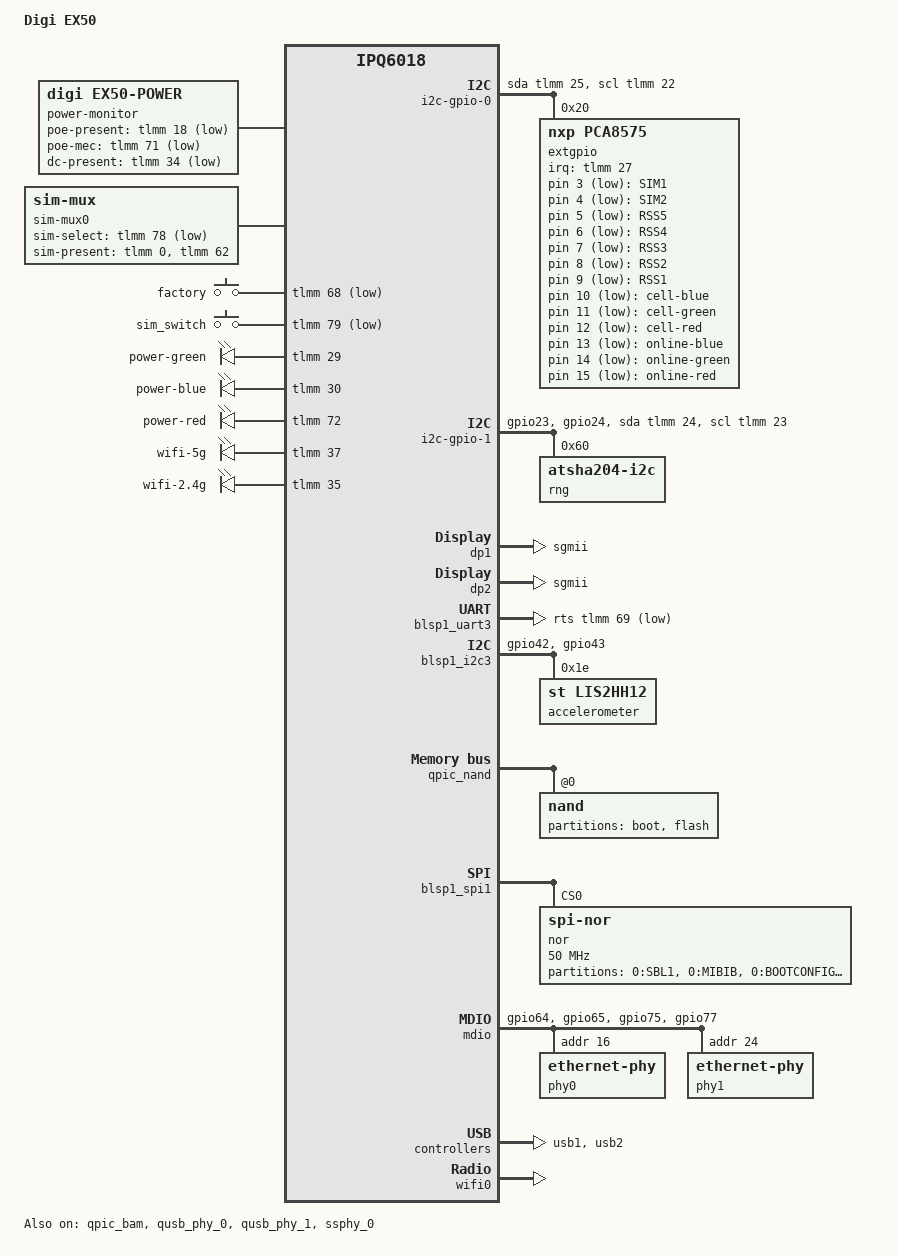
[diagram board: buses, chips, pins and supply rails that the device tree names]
// SPDX-License-Identifier: (GPL-2.0+ OR BSD-3-Clause)
/*
 * Digi/EX50 board device tree
 *
 * Copyright (c) 2019, The Linux Foundation. All rights reserved.
 * Copyright (c) 2021, Digi Inc. All rights reserved.
 */

/dts-v1/;

#include "ipq6018.dtsi"
#include <dt-bindings/gpio/gpio.h>
#include <dt-bindings/input/input.h>

/ {
	model = "Digi EX50";
	compatible = "digi,ex50", "qcom,ipq6018";

	reserved-memory {
		/*
		 * 64KiB reserved for pstore (ramoops). U-Boot reserves 4k at
		 * the very end of the 512MB memory. Otherwise everything else
		 * U-Boot is using is before 256MB.
		 * Kernel is using the end of the memory. But a bunch of memory
		 * is reserved for the CPU around 0x50000000, like
		 * "smem_region", "q6_etr_region", etc. The last one is the
		 * "q6_etr_region", which is finished at 0x500fffff. Reserve
		 * region for ramoops just after that
		 */
		ramoops@50100000 {
			compatible = "ramoops";
			reg = <0x0 0x50100000 0x0 0x10000>;
			ecc-size = <16>;
			record-size = <0x1000>;
			console-size = <0x1000>;
		};
	};

	aliases {
		serial0 = &blsp1_uart3;
	};

	chosen {
		bootargs-append = " swiotlb=1";
	};

	i2c-gpio-0 {
		compatible = "i2c-gpio";
		sda-gpios = <&tlmm 25 (GPIO_ACTIVE_HIGH | GPIO_OPEN_DRAIN)>;
		scl-gpios = <&tlmm 22 (GPIO_ACTIVE_HIGH | GPIO_OPEN_DRAIN)>;
		status = "okay";

		#address-cells = <1>;
		#size-cells = <0>;

		extgpio: pca8575@20 {
			compatible = "nxp,pca8575";
			reg = <0x20>;
			gpio-controller;
			#gpio-cells = <2>;
			interrupt-parent = <&tlmm>;
			interrupts = <27 IRQ_TYPE_EDGE_FALLING>;
			pinctrl-names = "default";
			pinctrl-0 = <&i2c_gpio_led_pins>;
		};
	};

	i2c-gpio-1 {
		compatible = "i2c-gpio";
		sda-gpios = <&tlmm 24 (GPIO_ACTIVE_HIGH | GPIO_OPEN_DRAIN)>;
		scl-gpios = <&tlmm 23 (GPIO_ACTIVE_HIGH | GPIO_OPEN_DRAIN)>;
		pinctrl-names = "default";
		pinctrl-0 = <&i2c_gpio_atmel_pins>;
		status = "okay";

		#address-cells = <1>;
		#size-cells = <0>;

		rng: atecc508@60 {
			compatible = "atsha204-i2c";
			reg = <0x60>;
		};
	};

	nss-macsec0 {
		compatible = "qcom,nss-macsec";
		phy_addr = <16>;
		phy_access_mode = <0>;
		mdiobus = <&mdio>;
	};

	nss-macsec1 {
		compatible = "qcom,nss-macsec";
		phy_addr = <24>;
		phy_access_mode = <0>;
		mdiobus = <&mdio>;
	};

	ess-switch@3a000000 {
		switch_cpu_bmp = <0x1>;  /* cpu port bitmap */
		switch_lan_bmp = <0x10>; /* lan port bitmap */
		switch_wan_bmp = <0x20>; /* wan port bitmap */
		switch_inner_bmp = <0xc0>; /*inner port bitmap*/
		switch_mac_mode = <0xf>; /* mac mode for uniphy instance0*/
		switch_mac_mode1 = <0xf>; /* mac mode for uniphy instance1*/
		switch_mac_mode2 = <0xff>; /* mac mode for uniphy instance2*/

		qcom,port_phyinfo {
			port@4 {
				port_id = <4>;
				phy_address = <16>;
				port_mac_sel = "QGMAC_PORT";
			};
			port@5 {
				port_id = <5>;
				phy_address = <24>;
				port_mac_sel = "QGMAC_PORT";
			};
		};
	};

	dp1 {
		device_type = "network";
		compatible = "qcom,nss-dp";
		qcom,id = <4>;
		reg = <0x0 0x3a001600 0x0 0x200>;
		qcom,mactype = <0>;
		local-mac-address = [000000000000];
		qcom,link-poll = <1>;
		qcom,phy-mdio-addr = <16>;
		phy-mode = "sgmii";
	};

	dp2 {
		device_type = "network";
		compatible = "qcom,nss-dp";
		qcom,id = <5>;
		reg = <0x0 0x3a001800 0x0 0x200>;
		qcom,mactype = <0>;
		local-mac-address = [000000000000];
		qcom,link-poll = <1>;
		qcom,phy-mdio-addr = <24>;
		phy-mode = "sgmii";
	};

	power-monitor {
		compatible = "digi,ex50-power";

		poe-present-gpios = <&tlmm 18 GPIO_ACTIVE_LOW>;
		poe-mec-gpios     = <&tlmm 71 GPIO_ACTIVE_LOW>;
		dc-present-gpios  = <&tlmm 34 GPIO_ACTIVE_LOW>;
	};

	sim-mux0 {
		compatible = "sim-mux";

		sim-select-gpios  = <&tlmm 78 GPIO_ACTIVE_LOW>;
		sim-present-gpios = <&tlmm  0 GPIO_ACTIVE_HIGH>,
				    <&tlmm 62 GPIO_ACTIVE_HIGH>;

		sim-count = <2>;
	};
};

&soc {
	gpio-keys {
		compatible = "gpio-keys";

		factory-button {
			label = "factory";
			linux,code = <KEY_DELETE>;
			gpios = <&tlmm 68 GPIO_ACTIVE_LOW>;
		};

		sim-button {
			label = "sim_switch";
			linux,code = <KEY_SELECT>;
			gpios = <&tlmm 79 GPIO_ACTIVE_LOW>;
		};
	};
};

&soc {
	leds {
		compatible = "gpio-leds";
		pinctrl-0 = <&leds_pins>;
		pinctrl-names = "default";

		led@29 {
			label = "power-green";
			gpios = <&tlmm 29 GPIO_ACTIVE_HIGH>;
			linux,default-trigger = "none";
			default-state = "keep";
		};

		led@30 {
			label = "power-blue";
			gpios = <&tlmm 30 GPIO_ACTIVE_HIGH>;
			linux,default-trigger = "none";
			default-state = "keep";
		};

		led@72 {
			label = "power-red";
			gpios = <&tlmm 72 GPIO_ACTIVE_HIGH>;
			linux,default-trigger = "none";
			default-state = "keep";
		};

		led@37 {
			label = "wifi-5g";
			gpios = <&tlmm 37 GPIO_ACTIVE_HIGH>;
			linux,default-trigger = "none";
			default-state = "off";
		};

		led@35 {
			label = "wifi-2.4g";
			gpios = <&tlmm 35 GPIO_ACTIVE_HIGH>;
			linux,default-trigger = "none";
			default-state = "off";
		};

		extgpio@3 {
			label = "SIM1";
			gpios = <&extgpio 3 GPIO_ACTIVE_LOW>;
			linux,default-trigger = "none";
			default-state = "off";
		};

		extgpio@4 {
			label = "SIM2";
			gpios = <&extgpio 4 GPIO_ACTIVE_LOW>;
			linux,default-trigger = "none";
			default-state = "off";
		};

		extgpio@5 {
			label = "RSS5";
			gpios = <&extgpio 5 GPIO_ACTIVE_LOW>;
			linux,default-trigger = "none";
			default-state = "off";
		};

		extgpio@6 {
			label = "RSS4";
			gpios = <&extgpio 6 GPIO_ACTIVE_LOW>;
			linux,default-trigger = "none";
			default-state = "off";
		};

		extgpio@7 {
			label = "RSS3";
			gpios = <&extgpio 7 GPIO_ACTIVE_LOW>;
			linux,default-trigger = "none";
			default-state = "off";
		};

		extgpio@8 {
			label = "RSS2";
			gpios = <&extgpio 8 GPIO_ACTIVE_LOW>;
			linux,default-trigger = "none";
			default-state = "off";
		};

		extgpio@9 {
			label = "RSS1";
			gpios = <&extgpio 9 GPIO_ACTIVE_LOW>;
			linux,default-trigger = "none";
			default-state = "off";
		};

		extgpio@10 {
			label = "cell-blue";
			gpios = <&extgpio 10 GPIO_ACTIVE_LOW>;
			linux,default-trigger = "none";
			default-state = "off";
		};

		extgpio@11 {
			label = "cell-green";
			gpios = <&extgpio 11 GPIO_ACTIVE_LOW>;
			linux,default-trigger = "none";
			default-state = "off";
		};

		extgpio@12 {
			label = "cell-red";
			gpios = <&extgpio 12 GPIO_ACTIVE_LOW>;
			linux,default-trigger = "none";
			default-state = "off";
		};

		extgpio@13 {
			label = "online-blue";
			gpios = <&extgpio 13 GPIO_ACTIVE_LOW>;
			linux,default-trigger = "none";
			default-state = "off";
		};

		extgpio@14 {
			label = "online-green";
			gpios = <&extgpio 14 GPIO_ACTIVE_LOW>;
			linux,default-trigger = "none";
			default-state = "off";
		};

		extgpio@15 {
			label = "online-red";
			gpios = <&extgpio 15 GPIO_ACTIVE_LOW>;
			linux,default-trigger = "none";
			default-state = "off";
		};
	};
};

&blsp1_uart3 {
	pinctrl-0 = <&serial_3_pins>;
	pinctrl-names = "default", "serial-gpio-pins";
	dtr-gpios = <&tlmm 57 GPIO_ACTIVE_LOW>;
	dcd-gpios = <&tlmm 16 GPIO_ACTIVE_LOW>;
	rts-gpios = <&tlmm 69 GPIO_ACTIVE_LOW>;
	cts-gpios = <&tlmm 70 GPIO_ACTIVE_LOW>;
	status = "okay";
};

&blsp1_i2c3 {
	pinctrl-0 = <&i2c_1_pins>;
	pinctrl-names = "default";
	status = "okay";

	accelerometer@1e {
		compatible = "st,lis2hh12";
		reg = <0x1e>;
	};
};

&qpic_bam {
	status = "okay";
};

&qpic_nand {
	status = "okay";

	nand@0 {
		reg = <0>;

		partitions {
			compatible = "fixed-partitions";
			#address-cells = <1>;
			#size-cells = <1>;

			partition@0 {
				label = "boot";
				reg = <0x00000000 0x02000000>;
			};
			partition@1 {
				label = "flash";
				reg = <0x02000000 0>;
			};
		};
	};
};

&blsp1_spi1 {
	cs-select = <0>;
	status = "okay";

	nor@0 {
		#address-cells = <1>;
		#size-cells = <1>;
		reg = <0>;
		compatible = "jedec,spi-nor";
		spi-max-frequency = <50000000>;

		partition@0 {
			label = "0:SBL1";
			reg = <0x00 0xc0000>;
		};

		partition@c0000 {
			label = "0:MIBIB";
			reg = <0xc0000 0x10000>;
		};

		partition@d0000 {
			label = "0:BOOTCONFIG";
			reg = <0xd0000 0x20000>;
		};

		partition@f0000 {
			label = "0:BOOTCONFIG1";
			reg = <0xf0000 0x20000>;
		};

		partition@110000 {
			label = "0:QSEE";
			reg = <0x110000 0x1a0000>;
		};

		partition@2b0000 {
			label = "0:QSEE_1";
			reg = <0x2b0000 0x1a0000>;
		};

		partition@450000 {
			label = "0:DEVCFG";
			reg = <0x450000 0x10000>;
		};

		partition@460000 {
			label = "0:DEVCFG_1";
			reg = <0x460000 0x10000>;
		};

		partition@470000 {
			label = "0:RPM";
			reg = <0x470000 0x40000>;
		};

		partition@4b0000 {
			label = "0:RPM_1";
			reg = <0x4b0000 0x40000>;
		};

		partition@4f0000 {
			label = "0:CDT";
			reg = <0x4f0000 0x10000>;
		};

		partition@500000 {
			label = "0:CDT_1";
			reg = <0x500000 0x10000>;
		};

		partition@510000 {
			label = "0:APPSBLENV";
			reg = <0x510000 0x10000>;
		};

		partition@520000 {
			label = "0:APPSBL";
			reg = <0x520000 0xa0000>;
		};

		partition@5c0000 {
			label = "0:APPSBL_1";
			reg = <0x5c0000 0xa0000>;
		};

		partition@660000 {
			label = "0:ART";
			reg = <0x660000 0x40000>;
			read-only;
		};
	};
};

&mdio {
	pinctrl-0 = <&mdio_pins>;
	pinctrl-names = "default";
	phy-reset-gpio = <&tlmm 75 0 &tlmm 77 1>;
	#address-cells = <1>;
	#size-cells = <0>;
	status = "okay";

	phy0: ethernet-phy@0 {
		reg = <16>;
	};
	phy1: ethernet-phy@1 {
		reg = <24>;
	};
};

&qusb_phy_0 {
	status = "okay";
};

&qusb_phy_1 {
	status = "okay";
};

&ssphy_0 {
	status = "okay";
};

&usb1 {
	status = "okay";
};

&usb2 {
	status = "okay";
};

&pcie0 {
	status = "disabled";
};

&pcie_phy {
	status = "disabled";
};

&tlmm {
	gpio-line-names = "", "", "", "", "", "", "", "",
	/*  8 */	  "", "", "", "", "", "", "", "",
	/* 16 */	  "dcd", "", "poe_in", "", "", "", "", "",
	/* 24 */	  "", "", "", "", "", "", "", "wdi",
	/* 32 */	  "", "", "dc_in", "", "", "", "", "",
	/* 40 */	  "", "", "", "", "", "", "", "",
	/* 48 */	  "", "", "", "", "", "", "", "",
	/* 56 */	  "", "dtr", "", "", "", "", "", "developer_",
	/* 64 */	  "", "", "", "", "factory", "rts", "cts", "full_power",
	/* 72 */	  "", "", "wdi_enable", "", "", "", "sim_select", "sim_switch";

	i2c_1_pins: i2c-1-pins {
		pins = "gpio42", "gpio43";
		function = "blsp2_i2c";
		drive-strength = <8>;
	};

	spi_0_pins: spi-0-pins {
		pins = "gpio38", "gpio39", "gpio40", "gpio41";
		function = "blsp0_spi";
		drive-strength = <8>;
		bias-pull-down;
	};

	leds_pins: leds-pins {
		pins = "gpio29", "gpio30", "gpio35", "gpio37", "gpio72";
		functions = "gpio";
		drive-strength = <8>;
		bias-pull-down;
	};

	i2c_gpio_led_pins: i2c-gpio-led-pins {
		pins = "gpio22", "gpio25", "gpio27";
		functions = "gpio";
		drive-strength = <8>;
	};

	i2c_gpio_atmel_pins: i2c-gpio-atmel-pins {
		pins = "gpio23", "gpio24";
		functions = "gpio";
		drive-strength = <8>;
	};

	serial_gpio_pins: serial-gpio-pins {
		pins = "gpio16", "gpio57", "gpio69", "gpio70";
		functions = "gpio";
		drive-strength = <8>;
	};

	wdi_gpio_pins: wdi-gpio-pins {
		pins = "gpio31", "gpio74";
		functions = "gpio";
		drive-strength = <8>;
	};

	mdio_pins: mdio_pinmux {
		mux_0 {
			pins = "gpio64";
			function = "mdc";
			drive-strength = <8>;
			bias-pull-up;
		};
		mux_1 {
			pins = "gpio65";
			function = "mdio";
			drive-strength = <8>;
			bias-pull-up;
		};
		mux_2 {
			pins = "gpio75";
			function = "gpio";
			bias-pull-up;
		};
		mux_3 {
			pins = "gpio77";
			function = "gpio";
			bias-pull-up;
		};
	};
};

&wifi0 {
	/* 512MB DDR */
	qcom,tgt-mem-mode = <1>;
};
